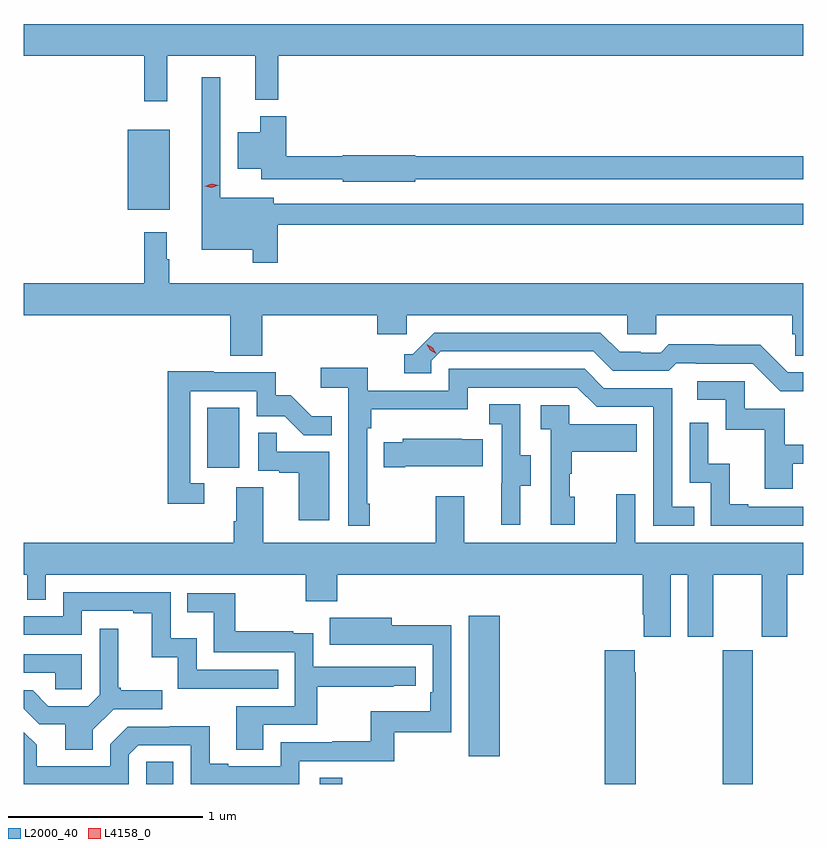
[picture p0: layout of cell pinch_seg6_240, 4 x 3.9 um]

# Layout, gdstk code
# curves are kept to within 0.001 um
import gdstk
lib = gdstk.Library(unit=1e-6, precision=1e-09)
def R(c, l, rs):  # rectangles x0, y0, x1, y1
    for r in rs: c.add(gdstk.rectangle(r[:2], r[2:], *l))
def P(c, l, *ps):  # polygons
    for p in ps: c.add(gdstk.Polygon(p, *l))
L2000_40 = (2000, 40)
L4158_0 = (4158, 0)

pinch_seg6_240 = lib.new_cell('pinch_seg6_240')
R(pinch_seg6_240, L2000_40, [(1117.83,922.286,1117.969,922.4), (1118.721,922.286,1118.837,922.319), (1120.789,922.286,1120.944,922.972), (1119.485,922.428,1119.646,923.149), (1118.144,923.91,1118.308,924.217), (1117.736,925.235,1117.951,925.645)])
P(pinch_seg6_240, L2000_40, [(1117.937,926.024),(1118.39,926.024),(1118.39,925.799),(1118.507,925.799),(1118.507,926.024),(1121.202,926.024),(1121.202,926.188),(1117.202,926.188),(1117.202,926.024),(1117.819,926.024),(1117.819,925.791),(1117.937,925.791)],
  [(1118.504,925.158),(1121.202,925.158),(1121.202,925.266),(1118.485,925.266),(1118.485,925.297),(1118.211,925.297),(1118.211,925.915),(1118.114,925.915),(1118.114,925.028),(1118.376,925.028),(1118.376,924.963),(1118.504,924.963)],
  [(1119.21,925.392),(1121.202,925.392),(1121.202,925.508),(1119.21,925.508),(1119.21,925.514),(1118.838,925.514),(1118.838,925.508),(1118.549,925.508),(1118.549,925.714),(1118.414,925.714),(1118.414,925.633),(1118.3,925.633),(1118.3,925.445),(1118.42,925.445),(1118.42,925.392),(1118.838,925.392),(1118.838,925.379),(1119.21,925.379)],
  [(1118.426,924.692),(1119.017,924.692),(1119.017,924.594),(1119.168,924.594),(1119.168,924.692),(1120.299,924.692),(1120.299,924.594),(1120.449,924.594),(1120.449,924.692),(1121.147,924.692),(1121.147,924.594),(1121.161,924.594),(1121.161,924.484),(1121.202,924.484),(1121.202,924.856),(1117.948,924.856),(1117.948,924.98),(1117.936,924.98),(1117.936,925.12),(1117.819,925.12),(1117.819,924.856),(1117.202,924.856),(1117.202,924.692),(1118.261,924.692),(1118.261,924.484),(1118.426,924.484)],
  [(1121.202,924.399),(1121.124,924.399),(1120.982,924.541),(1120.746,924.541),(1120.746,924.544),(1120.513,924.544),(1120.471,924.501),(1120.368,924.501),(1120.368,924.504),(1120.261,924.504),(1120.162,924.603),(1119.309,924.603),(1119.198,924.492),(1119.155,924.492),(1119.155,924.396),(1119.294,924.396),(1119.294,924.459),(1119.342,924.507),(1120.125,924.507),(1120.224,924.408),(1120.513,924.408),(1120.552,924.447),(1120.651,924.447),(1120.651,924.444),(1120.944,924.444),(1121.085,924.303),(1121.202,924.303)],
  [(1118.977,923.725),(1118.964,923.725),(1118.964,924.113),(1118.984,924.113),(1118.984,924.209),(1119.48,924.209),(1119.48,924.321),(1120.044,924.321),(1120.143,924.222),(1120.434,924.222),(1120.434,923.613),(1120.643,923.613),(1120.643,923.709),(1120.53,923.709),(1120.53,924.318),(1120.18,924.318),(1120.081,924.417),(1119.384,924.417),(1119.384,924.306),(1118.966,924.306),(1118.966,924.422),(1118.727,924.422),(1118.727,924.32),(1118.868,924.32),(1118.868,923.613),(1118.977,923.613)],
  [(1118.128,923.829),(1118.055,923.829),(1118.055,924.303),(1118.397,924.303),(1118.397,924.174),(1118.541,924.174),(1118.639,924.076),(1118.783,924.076),(1118.783,924.175),(1118.679,924.175),(1118.572,924.282),(1118.496,924.282),(1118.496,924.399),(1118.177,924.399),(1118.177,924.404),(1117.939,924.404),(1117.939,923.724),(1118.128,923.724)],
  [(1121.149,923.931),(1121.202,923.931),(1121.202,924.027),(1121.107,924.027),(1121.107,924.213),(1120.902,924.213),(1120.902,924.354),(1120.659,924.354),(1120.659,924.258),(1120.806,924.258),(1120.806,924.105),(1121.005,924.105),(1121.005,923.802),(1121.149,923.802)],
  [(1119.751,923.818),(1119.805,923.818),(1119.805,923.973),(1119.75,923.973),(1119.75,924.236),(1119.591,924.236),(1119.591,924.133),(1119.654,924.133),(1119.654,923.829),(1119.653,923.829),(1119.653,923.616),(1119.751,923.616)],
  [(1120.03,923.76),(1120.005,923.76),(1120.005,923.879),(1120.015,923.879),(1120.015,923.993),(1120.349,923.993),(1120.349,924.133),(1120.002,924.133),(1120.002,924.231),(1119.855,924.231),(1119.855,924.107),(1119.906,924.107),(1119.906,923.616),(1120.03,923.616)],
  [(1121.202,923.709),(1120.921,923.709),(1120.921,923.722),(1120.826,923.722),(1120.826,923.93),(1120.716,923.93),(1120.716,924.142),(1120.62,924.142),(1120.62,923.832),(1120.728,923.832),(1120.728,923.613),(1121.202,923.613)],
  [(1118.77,923.991),(1118.501,923.991),(1118.501,924.089),(1118.406,924.089),(1118.406,923.895),(1118.513,923.895),(1118.513,923.883),(1118.612,923.883),(1118.612,923.64),(1118.77,923.64)],
  [(1119.16,923.918),(1119.557,923.918),(1119.557,924.055),(1119.449,924.055),(1119.449,924.058),(1119.147,924.058),(1119.147,924.04),(1119.049,924.04),(1119.049,923.911),(1119.16,923.911)],
  [(1120.522,923.36),(1120.61,923.36),(1120.61,923.043),(1120.741,923.043),(1120.741,923.36),(1120.991,923.36),(1120.991,923.043),(1121.122,923.043),(1121.122,923.36),(1121.202,923.36),(1121.202,923.524),(1120.341,923.524),(1120.341,923.773),(1120.244,923.773),(1120.244,923.524),(1119.463,923.524),(1119.463,923.764),(1119.316,923.764),(1119.316,923.524),(1118.431,923.524),(1118.431,923.81),(1118.291,923.81),(1118.291,923.636),(1118.279,923.636),(1118.279,923.524),(1117.202,923.524),(1117.202,923.36),(1117.218,923.36),(1117.218,923.233),(1117.314,923.233),(1117.314,923.36),(1118.65,923.36),(1118.65,923.225),(1118.81,923.225),(1118.81,923.36),(1120.379,923.36),(1120.379,923.155),(1120.385,923.155),(1120.385,923.043),(1120.522,923.043)],
  [(1118.507,922.872),(1118.088,922.872),(1118.088,923.035),(1117.956,923.035),(1117.956,923.271),(1117.404,923.271),(1117.404,923.148),(1117.202,923.148),(1117.202,923.052),(1117.5,923.052),(1117.5,923.175),(1117.763,923.175),(1117.763,923.163),(1117.859,923.163),(1117.859,922.937),(1117.992,922.937),(1117.992,922.776),(1118.507,922.776)],
  [(1118.431,922.59),(1118.708,922.59),(1118.708,922.786),(1119.101,922.786),(1119.101,922.791),(1119.214,922.791),(1119.214,922.887),(1118.688,922.887),(1118.688,923.059),(1118.585,923.059),(1118.585,923.071),(1118.287,923.071),(1118.287,923.265),(1118.041,923.265),(1118.041,923.168),(1118.176,923.168),(1118.176,922.962),(1118.592,922.962),(1118.592,922.686),(1118.291,922.686),(1118.291,922.462),(1118.431,922.462)],
  [(1117.74,922.437),(1117.788,922.485),(1118.058,922.485),(1118.058,922.286),(1118.616,922.286),(1118.616,922.404),(1119.103,922.404),(1119.103,922.551),(1119.396,922.551),(1119.396,923.102),(1119.091,923.102),(1119.091,923.14),(1118.773,923.14),(1118.773,923),(1119.3,923.001),(1119.3,922.756),(1119.287,922.756),(1119.287,922.66),(1118.982,922.66),(1118.982,922.505),(1118.785,922.505),(1118.785,922.5),(1118.52,922.5),(1118.52,922.377),(1118.251,922.377),(1118.251,922.39),(1118.155,922.39),(1118.155,922.583),(1117.95,922.583),(1117.95,922.581),(1117.734,922.581),(1117.644,922.491),(1117.644,922.377),(1117.267,922.377),(1117.267,922.487),(1117.202,922.552),(1117.202,922.286),(1117.74,922.286)],
  [(1117.555,922.564),(1117.662,922.671),(1117.912,922.671),(1117.912,922.768),(1117.699,922.768),(1117.699,922.78),(1117.687,922.78),(1117.687,923.083),(1117.59,923.083),(1117.59,922.743),(1117.533,922.686),(1117.327,922.686),(1117.246,922.767),(1117.202,922.767),(1117.202,922.672),(1117.28,922.594),(1117.415,922.594),(1117.415,922.462),(1117.555,922.462)],
  [(1120.344,922.859),(1120.339,922.859),(1120.339,922.972),(1120.184,922.972),(1120.184,922.286),(1120.344,922.286)],
  [(1117.5,922.953),(1117.202,922.953),(1117.202,922.857),(1117.363,922.857),(1117.363,922.773),(1117.5,922.773)])
P(pinch_seg6_240, L4158_0, [(1118.166,925.347),(1118.13,925.354),(1118.13,925.355),(1118.13,925.355),(1118.165,925.367),(1118.201,925.359),(1118.201,925.359),(1118.201,925.359)],
  [(1119.319,924.494),(1119.288,924.512),(1119.271,924.545),(1119.271,924.545),(1119.271,924.545),(1119.302,924.526),(1119.319,924.494),(1119.319,924.494)])

lib.write_gds('pinch_seg6_240.gds')
